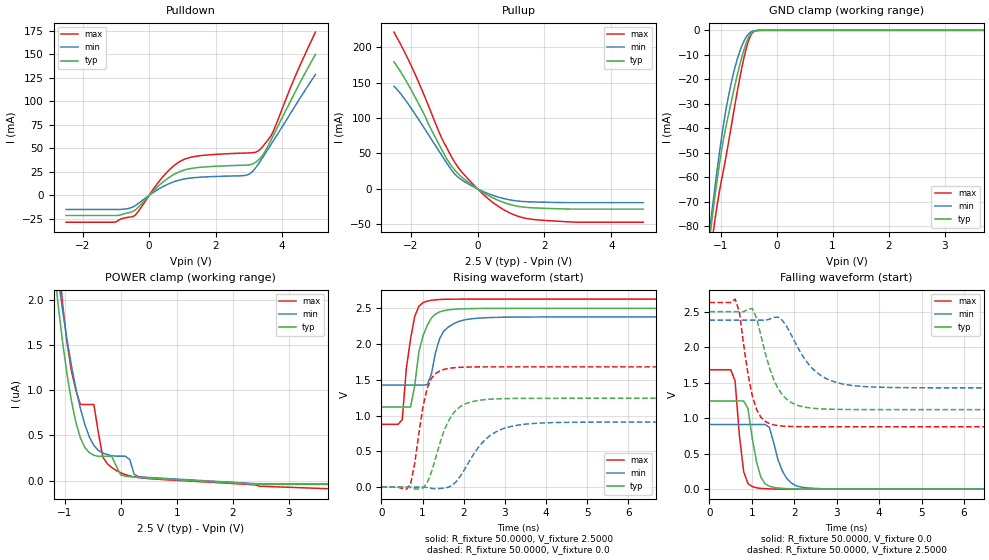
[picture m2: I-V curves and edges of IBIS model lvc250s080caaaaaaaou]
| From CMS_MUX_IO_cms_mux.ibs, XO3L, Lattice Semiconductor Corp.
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[Model]   lvc250s080caaaaaaaou
Model_type   Output
Polarity   Non-Inverting
Enable   Active-Low
Vmeas =   1.2500V
Cref =   0.0F
Rref =   1.0000M
Vref =   0.0V
C_comp   4.2000pF   3.8000pF   7.5000pF
[Temperature Range]   25.0000   0.1250k   -40.0000
[Voltage Range]   2.5000V   2.3800V   2.6300V
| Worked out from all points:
|   slope of the pulldown table from 0 to 0.375 V, typ, clamps not added: 28.8 ohm
|   slope of the pullup table from 0 to 0.375 V, typ, clamps not added: 35 ohm
|   GND clamp passes 1 mA (typ) near -0.44 V on its own axis
|   rising waveform, R_fixture 50.0000, V_fixture 2.5000: 20-80 % time 286ps typ, 305ps min, 229ps max; typ from 1.12 V to 2.5 V
|   rising waveform, R_fixture 50.0000, V_fixture 0.0: 20-80 % time 465ps typ, 709ps min, 287ps max; typ from 0 V to 1.24 V
|   falling waveform, R_fixture 50.0000, V_fixture 0.0: 20-80 % time 232ps typ, 311ps min, 161ps max; typ from 1.24 V to 0 V
|   falling waveform, R_fixture 50.0000, V_fixture 2.5000: 20-80 % time 453ps typ, 672ps min, 302ps max; typ from 2.5 V to 1.12 V
[Pulldown]
|Voltage   I(typ)   I(min)   I(max)
-2.5V     -21.43mA   -15mA      -28.53mA
-1.06V    -21.43mA   -15mA      -28.53mA
-500mV    -17.29mA   -12.49mA   -22.68mA
-340mV    -13.01mA   -8.939mA   -17.7mA
460mV     15.44mA    10.15mA    21.72mA
1.1V      27.41mA    17.71mA    38.96mA
2.94V     32.22mA    21.64mA    45.09mA
3.26V     36.81mA    32.22mA    46.78mA
3.42V     43.03mA    40.73mA    52.13mA
3.74V     64.12mA    58.39mA    68.73mA
4.38V     109.2mA    94.54mA    125.7mA
5V        149.9mA    128.6mA    173.7mA
[Pullup]
|Voltage   I(typ)   I(min)   I(max)
-2.5V     179.5mA    144.9mA    221.4mA
-1.96V    137.7mA    112.2mA    171.5mA
-1.64V    109.2mA    89.19mA    137.2mA
-1.08V    56.2mA     47.99mA    72.47mA
-760mV    31.15mA    25.49mA    43.78mA
-440mV    15.37mA    11.59mA    22.04mA
40mV      -1.275mA   -931.8uA   -1.898mA
440mV     -12.3mA    -8.882mA   -18.58mA
1V        -22.45mA   -15.89mA   -34.81mA
1.56V     -26.61mA   -18.37mA   -42.65mA
2.92V     -28.69mA   -19.55mA   -47.08mA
4.96V     -28.69mA   -19.55mA   -47.14mA
[GND_clamp]
|Voltage   I(typ)   I(min)   I(max)
-2.5V     -564.7mA   -543.1mA   -585.2mA
-1.18V    -82.35mA   -79.03mA   -91.15mA
-1.14V    -74.88mA   -71.38mA   -83.96mA
-1.1V     -67.69mA   -63.94mA   -77.25mA
-980mV    -48.66mA   -43.36mA   -60.79mA
-820mV    -30.34mA   -22.65mA   -40.66mA
-700mV    -18.09mA   -11.63mA   -24.79mA
-620mV    -10.87mA   -6.335mA   -15.23mA
-540mV    -5.061mA   -2.654mA   -7.227mA
-460mV    -1.446mA   -714.8uA   -1.98mA
-300mV    -18.71uA   -15.93uA   -16.53uA
5V        0A         0A         0A
[POWER_clamp]
|Voltage   I(typ)   I(min)   I(max)
-2.48V    16.67uA    13.45uA    27.27uA
-1.2V     2.433uA    2.65uA     3.19uA
-1.12V    1.958uA    2.252uA    2.52uA
-1.04V    1.539uA    1.89uA     1.965uA
-880mV    879.3nA    1.27uA     1.211uA
-720mV    470.9nA    797.2nA    841.4nA
-480mV    279.3nA    388.4nA    841.4nA
-320mV    268.6nA    305nA      260.6nA
-160mV    268.6nA    275.3nA    144nA
0V        63.22nA    269.5nA    86.34nA
400mV     31.61nA    39.07nA    27.38nA
5V        -44.09nA   -38.33nA   -118.7nA
[Ramp]
| variable   typ   min   max
dV/dt_r  0.7610/0.4599n   0.5462/0.7020n   1.0094/0.2844n
dV/dt_f  0.8277/0.4481n   0.5716/0.6654n   1.0508/0.2990n
R_load = 50.0000
[Rising Waveform]
R_fixture=   50.0000
V_fixture=   2.5000
V_fixture_min=   2.3800
V_fixture_max=   2.6300
|time   V(typ)   V(min)   V(max)
0s        1.121V     1.427V     878.6mV
505.1ps   1.121V     1.427V     943.1mV
606.1ps   1.121V     1.427V     1.667V
707.1ps   1.119V     1.427V     2.071V
808.1ps   1.418V     1.427V     2.386V
909.1ps   1.892V     1.428V     2.53V
1.111ns   2.259V     1.432V     2.601V
1.515ns   2.468V     2.181V     2.626V
2.02ns    2.495V     2.339V     2.63V
10ns      2.5V       2.38V      2.63V
[Rising Waveform]
R_fixture=   50.0000
V_fixture=   0.0
V_fixture_min=   0.0
V_fixture_max=   0.0
|time   V(typ)   V(min)   V(max)
0s        666.9nV    899.8nV    549.6nV
707.1ps   -4.283mV   7.467uV    38.42mV
1.01ns    -9.285mV   -453.2uV   1.131V
1.111ns   62.83mV    -4.528mV   1.383V
1.515ns   778.6mV    -12.88mV   1.646V
1.717ns   1.012V     24.61mV    1.667V
2.02ns    1.16V      249.2mV    1.678V
2.525ns   1.224V     666.6mV    1.682V
3.232ns   1.24V      859.1mV    1.682V
10ns      1.243V     910.3mV    1.682V
[Falling Waveform]
R_fixture=   50.0000
V_fixture=   0.0
V_fixture_min=   0.0
V_fixture_max=   0.0
|time   V(typ)   V(min)   V(max)
0s        1.243V     910.3mV    1.682V
505.1ps   1.243V     910.3mV    1.682V
606.1ps   1.243V     910.3mV    1.524V
808.1ps   1.243V     910.4mV    247.8mV
909.1ps   1.137V     910.3mV    78.69mV
1.01ns    717.9mV    910.3mV    36.15mV
1.313ns   75.67mV    910.8mV    6.34mV
1.818ns   7.627mV    156mV      434.4uV
2.222ns   1.73mV     23.34mV    116uV
10ns      5.917uV    -6.372uV   -20.54uV
[Falling Waveform]
R_fixture=   50.0000
V_fixture=   2.5000
V_fixture_min=   2.3800
V_fixture_max=   2.6300
|time   V(typ)   V(min)   V(max)
0s        2.5V       2.38V      2.63V
606.1ps   2.5V       2.38V      2.678V
707.1ps   2.501V     2.38V      2.497V
1.01ns    2.546V     2.38V      1.319V
1.212ns   2.172V     2.381V     1.015V
1.515ns   1.545V     2.42V      905.6mV
2.02ns    1.194V     2.067V     881.4mV
2.525ns   1.135V     1.646V     879mV
3.131ns   1.123V     1.483V     878.7mV
10ns      1.121V     1.427V     878.6mV
